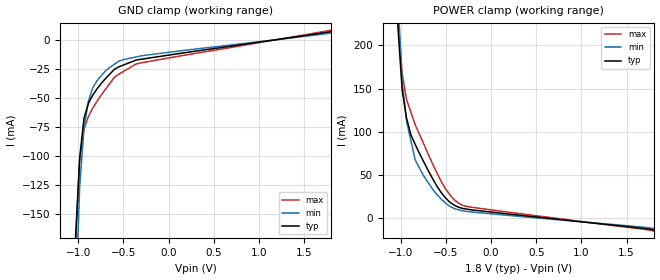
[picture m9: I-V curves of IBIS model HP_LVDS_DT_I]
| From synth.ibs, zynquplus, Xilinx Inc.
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[Model]  HP_LVDS_DT_I
Model_type Input
Polarity   Non-Inverting
Vinl =   1.1500V
Vinh =   1.2500V
C_comp   2.69373293702p   2.69341016229p   2.69529909352p
C_comp_pullup   808.119881107f   808.023048688f   808.589728055f
C_comp_pulldown   1.88561305592p   1.8853871136p   1.88670936546p
[Temperature Range]   25.0000   100.0000   0.0
[Voltage Range]   1.8000V   1.7100V   1.8900V
[GND_clamp]
|Voltage   I(typ)   I(min)   I(max)
-1.8V     -4.886A    -4.355A    -5.388A
-1.032V   -174.6mA   -236.6mA   -181.4mA
-984mV    -101.7mA   -126.7mA   -104.5mA
-936mV    -67.5mA    -76.35mA   -77.05mA
-888mV    -54.9mA    -52.92mA   -66.16mA
-840mV    -47.7mA    -41.52mA   -58.9mA
-792mV    -42.23mA   -35.1mA    -52.91mA
-696mV    -33.11mA   -26.45mA   -42.29mA
-600mV    -25.33mA   -20.99mA   -32.21mA
-552mV    -23.21mA   -18.42mA   -29.57mA
-312mV    -16.72mA   -13.83mA   -19.85mA
1.8V      7.171mA    5.996mA    8.433mA
[POWER_clamp]
|Voltage   I(typ)   I(min)   I(max)
-1.8V     6.234A     5.471A     6.909A
-1.032V   223mA      254.9mA    236.3mA
-984mV    148.4mA    158.6mA    167.5mA
-936mV    116.1mA    112.4mA    137.7mA
-888mV    96.62mA    90mA       122.9mA
-840mV    85.43mA    67.6mA     108.2mA
-648mV    46.02mA    33.77mA    63.08mA
-552mV    29.67mA    22.06mA    42.61mA
-456mV    18.48mA    13.77mA    27.17mA
-360mV    12.72mA    9.776mA    17.46mA
-264mV    10.47mA    7.795mA    13.55mA
1.8V      -13.43mA   -11.88mA   -14.69mA
